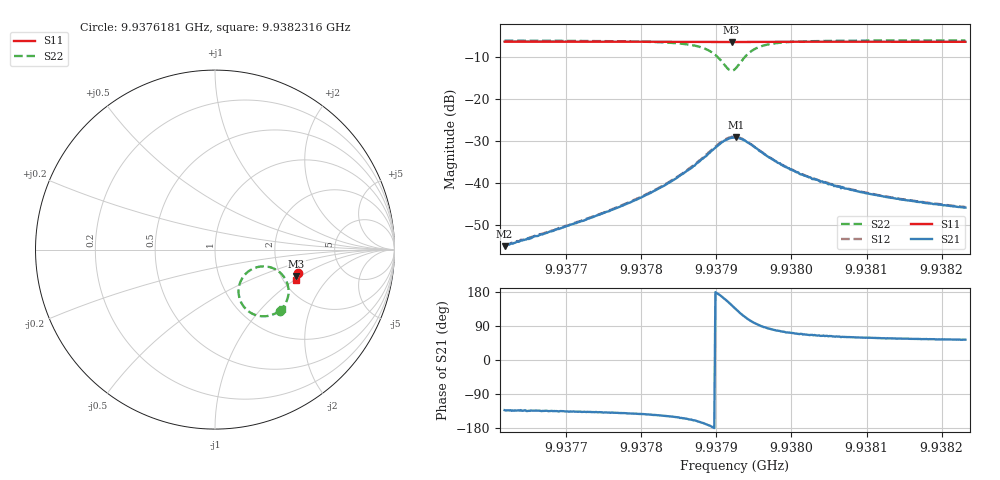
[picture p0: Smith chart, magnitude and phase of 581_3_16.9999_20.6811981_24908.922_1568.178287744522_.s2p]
#  HZ  S  RI  R  50.00
! Rohde & Schwarz Vector Network Analyzer
! Rohde-Schwarz,ZNB20-2Port,1311601062101988,3.16
! Created: UTC 3/20/2024, 11:18:08 PM
! freq[Hz]  re:S11  im:S11  re:S21  im:S21  re:S12  im:S12  re:S22  im:S22
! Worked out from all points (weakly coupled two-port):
!   401 points, 9.9376181 GHz to 9.9382316 GHz, reference 50 ohm
!   highest |S21| = -29.13 dB at 9.9379264 GHz (marker M1); lowest = -55.0 dB at 9.9376181 GHz (marker M2)
!   lowest |S11| = -6.4 dB at 9.9379202 GHz (marker M3), VSWR 2.82, Z = 121 - j45.9 ohm
!   |S11| at or under -10 dB: nowhere
!   |S22| runs from -13.3 to -6.1 dB; largest |S21 - S12| = 0.0016
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9.93761811e9  0.4645 -0.1293  -0.0012 -0.00131  -0.00126 -0.00132  0.3603 -0.3395
9.93772086e9  0.462 -0.1362  -0.00258 -0.0024  -0.00265 -0.00243  0.3432 -0.3515
9.93778528e9  0.4603 -0.1406  -0.00457 -0.00369  -0.0047 -0.00371  0.3221 -0.362
9.93782362e9  0.4591 -0.1433  -0.00713 -0.00485  -0.00735 -0.00485  0.2983 -0.3691
9.93785582e9  0.4577 -0.1455  -0.0116 -0.00566  -0.0119 -0.00574  0.2601 -0.3714
9.93788343e9  0.4561 -0.1474  -0.0196 -0.00449  -0.0201 -0.00412  0.1963 -0.3506
9.9378957e9  0.4551 -0.1479  -0.025 -0.000807  -0.0258 -0.000417  0.1574 -0.3141
9.93790644e9  0.4541 -0.1479  -0.0295 0.00602  -0.03 0.00699  0.1325 -0.2523
9.93791564e9  0.4535 -0.1475  -0.0299 0.0149  -0.0302 0.0164  0.142 -0.1786
9.93792024e9  0.4535 -0.1472  -0.0282 0.0199  -0.0283 0.0214  0.1638 -0.143
9.93792484e9  0.4537 -0.1467  -0.0253 0.0241  -0.0248 0.0255  0.1954 -0.1152
9.93792637e9  0.4538 -0.1468  -0.024 0.0254  -0.0234 0.0267  0.2076 -0.1082
9.93793404e9  0.4544 -0.1466  -0.0164 0.0289  -0.0157 0.03  0.2713 -0.0934
9.93794324e9  0.4552 -0.1469  -0.00843 0.0288  -0.00752 0.0292  0.3347 -0.1089
9.93795858e9  0.4559 -0.1484  -3.49e-05 0.0238  0.000528 0.024  0.3894 -0.16
9.93797085e9  0.456 -0.1496  0.00276 0.0198  0.00311 0.0199  0.4049 -0.1958
9.93798925e9  0.4559 -0.1513  0.00421 0.0154  0.00474 0.0156  0.4099 -0.2335
9.93801379e9  0.4553 -0.1533  0.00455 0.0118  0.00496 0.0117  0.4064 -0.264
9.93802759e9  0.455 -0.1544  0.00449 0.0102  0.005 0.0102  0.4033 -0.2755
9.9380598e9  0.4542 -0.1567  0.00425 0.00809  0.00453 0.0081  0.3961 -0.2939
9.93813035e9  0.4523 -0.1615  0.00367 0.00568  0.0038 0.00567  0.3834 -0.3156
9.93823157e9  0.4494 -0.168  0.00303 0.00412  0.00317 0.0041  0.3712 -0.3312
